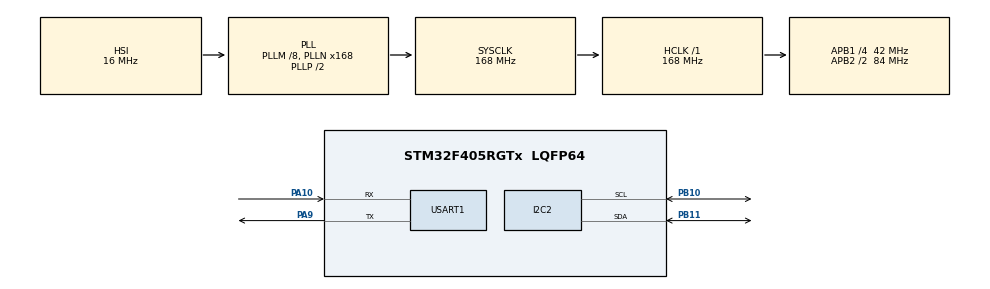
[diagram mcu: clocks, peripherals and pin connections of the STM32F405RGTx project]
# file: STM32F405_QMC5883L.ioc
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Mcu.Family=STM32F4
Mcu.Name=STM32F405RGTx
Mcu.Package=LQFP64
NVIC.PriorityGroup=NVIC_PRIORITYGROUP_4
PA10.Mode=Asynchronous
PA10.Signal=USART1_RX
PA9.Mode=Asynchronous
PA9.Signal=USART1_TX
PB10.Mode=I2C
PB10.Signal=I2C2_SCL
PB11.Mode=I2C
PB11.Signal=I2C2_SDA
PH0-OSC_IN.Mode=HSE-External-Oscillator
PH0-OSC_IN.Signal=RCC_OSC_IN
PH1-OSC_OUT.Mode=HSE-External-Oscillator
PH1-OSC_OUT.Signal=RCC_OSC_OUT
ProjectManager.HeapSize=0x200
ProjectManager.StackSize=0x400
ProjectManager.TargetToolchain=STM32CubeIDE
RCC.48MHZClocksFreq_Value=84000000
RCC.AHBFreq_Value=168000000
RCC.APB1CLKDivider=RCC_HCLK_DIV4
RCC.APB1Freq_Value=42000000
RCC.APB1TimFreq_Value=84000000
RCC.APB2CLKDivider=RCC_HCLK_DIV2
RCC.APB2Freq_Value=84000000
RCC.APB2TimFreq_Value=168000000
RCC.CortexFreq_Value=168000000
RCC.HCLKFreq_Value=168000000
RCC.HSE_VALUE=8000000
RCC.HSI_VALUE=16000000
RCC.LSE_VALUE=32768
RCC.PLLM=8
RCC.PLLN=168
RCC.SYSCLKFreq_VALUE=168000000
RCC.SYSCLKSource=RCC_SYSCLKSOURCE_PLLCLK
RCC.VCOOutputFreq_Value=336000000
USART1.VirtualMode=VM_ASYNC
board=custom

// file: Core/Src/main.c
/* USER CODE BEGIN Header */
/**
  ******************************************************************************
  * @file           : main.c
  * @brief          : Main program body
  ******************************************************************************
  * @attention
  *
  * Copyright (c) 2025 STMicroelectronics.
  * All rights reserved.
  *
  * This software is licensed under terms that can be found in the LICENSE file
  * in the root directory of this software component.
  * If no LICENSE file comes with this software, it is provided AS-IS.
  *
  ******************************************************************************
  */
/* USER CODE END Header */
#include "main.h"
#include "i2c.h"
#include "usart.h"
#include "gpio.h"

/* USER CODE BEGIN Includes */
#include "stdio.h"
#include "string.h"
#include "qmc5883l.h"
/* USER CODE END Includes */

/* USER CODE BEGIN PD */
#define I2C_ADDR_QMC5883L                   (QMC5883L_I2C_ADDR<<1)
#define QMC5883L_I2C                        hi2c2

#define UART_DEBUG                          huart1

#define CONFIG_QMC5883L_RANGE               QMC5883L_RANGE_8G
#define CONFIG_QMC5883L_OPR_MODE            QMC5883L_OPR_MODE_CONTINUOUS
#define CONFIG_QMC5883L_DATA_RATE           QMC5883L_DATA_RATE_50HZ
#define CONFIG_QMC5883L_SAMPLES             QMC5883L_SAMPLE_RATE_512
#define CONFIG_QMC5883L_INTR_ENABLE         QMC5883L_INTERRUPT_DISABLE
/* USER CODE END PD */

/* USER CODE BEGIN PV */
qmc5883l_handle_t qmc5883l_handle;
/* USER CODE END PV */

void SystemClock_Config(void);
/* USER CODE BEGIN PFP */
err_code_t hw_intf_uart_debug_send(uint8_t *log_buf);
err_code_t hw_intf_qmc5883l_i2c_send(uint8_t reg_addr, uint8_t *buf, uint16_t len);
err_code_t hw_intf_qmc5883l_i2c_recv(uint8_t reg_addr, uint8_t *buf, uint16_t len);
/* USER CODE END PFP */

int main(void)
{

    /* MCU Configuration--------------------------------------------------------*/

    /* Reset of all peripherals, Initializes the Flash interface and the Systick. */
    HAL_Init();

    /* Configure the system clock */
    SystemClock_Config();

    /* Initialize all configured peripherals */
    MX_GPIO_Init();
    MX_I2C2_Init();
    MX_USART1_UART_Init();
    /* USER CODE BEGIN 2 */
    qmc5883l_handle = qmc5883l_init();
    qmc5883l_cfg_t qmc5883l_cfg = {
        .range          = CONFIG_QMC5883L_RANGE,
        .opr_mode       = CONFIG_QMC5883L_OPR_MODE,
        .data_rate      = CONFIG_QMC5883L_DATA_RATE,
        .sample_rate    = CONFIG_QMC5883L_SAMPLES,
        .intr_en        = CONFIG_QMC5883L_INTR_ENABLE,
        .hard_bias_x     = 154.7851961238576,
        .hard_bias_y     = -12.923460697083387,
        .hard_bias_z     = -16.002331463439372,
        .soft_bias_c11   = 0.6232115045089357,
        .soft_bias_c12   = 0.004997471269166363,
        .soft_bias_c13   = 0.022147854060797133,
        .soft_bias_c21   = 0.004997471269166429,
        .soft_bias_c22   = 0.6324010352739647,
        .soft_bias_c23   = -0.00080240879779977,
        .soft_bias_c31   = 0.02214785406079713,
        .soft_bias_c32   = -0.000802408797799873,
        .soft_bias_c33   = 0.7179876576597246,
        .i2c_send       = hw_intf_qmc5883l_i2c_send,
        .i2c_recv       = hw_intf_qmc5883l_i2c_recv,
        .delay          = HAL_Delay
    };
    qmc5883l_set_config(qmc5883l_handle, qmc5883l_cfg);
    qmc5883l_config(qmc5883l_handle);
    /* USER CODE END 2 */

    /* Infinite loop */
    /* USER CODE BEGIN WHILE */
    while (1)
    {

        // int16_t raw_mag_x = 0, raw_max_y = 0, raw_mag_z = 0;
        // qmc5883l_get_mag_raw(qmc5883l_handle, &raw_mag_x, &raw_max_y, &raw_mag_z);

        // uint8_t log_buf[100];
        // sprintf((char *)log_buf, "\n%i,%i,%i", raw_mag_x, raw_max_y, raw_mag_z);
        // hw_intf_uart_debug_send(log_buf);

        float calib_mag_x = 0, calib_max_y = 0, calib_mag_z = 0;
        qmc5883l_get_mag_calib(qmc5883l_handle, &calib_mag_x, &calib_max_y, &calib_mag_z);

        uint8_t log_buf[100];
        sprintf((char *)log_buf, "\n%f,%f,%f", calib_mag_x, calib_max_y, calib_mag_z);
        hw_intf_uart_debug_send(log_buf);

        HAL_Delay(100);
        /* USER CODE END WHILE */

    }
}

void SystemClock_Config(void)
{
    RCC_OscInitTypeDef RCC_OscInitStruct = {0};
    RCC_ClkInitTypeDef RCC_ClkInitStruct = {0};

    /** Configure the main internal regulator output voltage
    */
    __HAL_RCC_PWR_CLK_ENABLE();
    __HAL_PWR_VOLTAGESCALING_CONFIG(PWR_REGULATOR_VOLTAGE_SCALE1);

    /** Initializes the RCC Oscillators according to the specified parameters
    * in the RCC_OscInitTypeDef structure.
    */
    RCC_OscInitStruct.OscillatorType = RCC_OSCILLATORTYPE_HSI;
    RCC_OscInitStruct.HSIState = RCC_HSI_ON;
    RCC_OscInitStruct.HSICalibrationValue = RCC_HSICALIBRATION_DEFAULT;
    RCC_OscInitStruct.PLL.PLLState = RCC_PLL_ON;
    RCC_OscInitStruct.PLL.PLLSource = RCC_PLLSOURCE_HSI;
    RCC_OscInitStruct.PLL.PLLM = 8;
    RCC_OscInitStruct.PLL.PLLN = 168;
    RCC_OscInitStruct.PLL.PLLP = RCC_PLLP_DIV2;
    RCC_OscInitStruct.PLL.PLLQ = 4;
    if (HAL_RCC_OscConfig(&RCC_OscInitStruct) != HAL_OK)
    {
        Error_Handler();
    }

    /** Initializes the CPU, AHB and APB buses clocks
    */
    RCC_ClkInitStruct.ClockType = RCC_CLOCKTYPE_HCLK | RCC_CLOCKTYPE_SYSCLK
                                  | RCC_CLOCKTYPE_PCLK1 | RCC_CLOCKTYPE_PCLK2;
    RCC_ClkInitStruct.SYSCLKSource = RCC_SYSCLKSOURCE_PLLCLK;
    RCC_ClkInitStruct.AHBCLKDivider = RCC_SYSCLK_DIV1;
    RCC_ClkInitStruct.APB1CLKDivider = RCC_HCLK_DIV4;
    RCC_ClkInitStruct.APB2CLKDivider = RCC_HCLK_DIV2;

    if (HAL_RCC_ClockConfig(&RCC_ClkInitStruct, FLASH_LATENCY_5) != HAL_OK)
    {
        Error_Handler();
    }
}

/* USER CODE BEGIN 4 */
err_code_t hw_intf_qmc5883l_i2c_send(uint8_t reg_addr, uint8_t *buf, uint16_t len)
{
    uint8_t buf_send[len + 1];
    buf_send[0] = reg_addr;
    for (uint8_t i = 0; i < len; i++)
    {
        buf_send[i + 1] = buf[i];
    }

    HAL_I2C_Master_Transmit(&QMC5883L_I2C, I2C_ADDR_QMC5883L, buf_send, len + 1, 100);

    return ERR_CODE_SUCCESS;
}

err_code_t hw_intf_qmc5883l_i2c_recv(uint8_t reg_addr, uint8_t *buf, uint16_t len)
{
    uint8_t buffer[1];
    buffer[0] = reg_addr;

    HAL_I2C_Master_Transmit(&QMC5883L_I2C, I2C_ADDR_QMC5883L, buffer, 1, 100);
    HAL_I2C_Master_Receive(&QMC5883L_I2C, I2C_ADDR_QMC5883L, buf, len, 100);

    return ERR_CODE_SUCCESS;
}

err_code_t hw_intf_uart_debug_send(uint8_t *log_buf)
{
    uint16_t len = strlen((char*)log_buf);
    HAL_UART_Transmit(&UART_DEBUG, (uint8_t*)log_buf, len, 100);

    return ERR_CODE_SUCCESS;
}
/* USER CODE END 4 */

void Error_Handler(void)
{
    __disable_irq();
    while (1)
    {
    }
}
